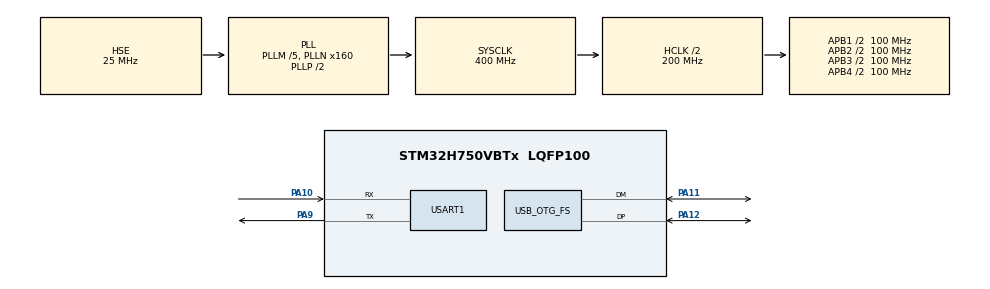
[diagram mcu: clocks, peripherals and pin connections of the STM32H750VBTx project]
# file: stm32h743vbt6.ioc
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Mcu.Family=STM32H7
Mcu.Name=STM32H750VBTx
Mcu.Package=LQFP100
NVIC.OTG_FS_IRQn=true\:0\:0\:false\:false\:true\:true\:true
NVIC.PriorityGroup=NVIC_PRIORITYGROUP_4
PA10.Mode=Asynchronous
PA10.Signal=USART1_RX
PA11.Mode=Device_Only
PA11.Signal=USB_OTG_FS_DM
PA12.Mode=Device_Only
PA12.Signal=USB_OTG_FS_DP
PA9.Mode=Asynchronous
PA9.Signal=USART1_TX
PH0-OSC_IN\ (PH0).Mode=HSE-External-Oscillator
PH0-OSC_IN\ (PH0).Signal=RCC_OSC_IN
PH1-OSC_OUT\ (PH1).Mode=HSE-External-Oscillator
PH1-OSC_OUT\ (PH1).Signal=RCC_OSC_OUT
ProjectManager.HeapSize=0x200
ProjectManager.StackSize=0x400
ProjectManager.TargetToolchain=MDK-ARM V5.27
RCC.ADCFreq_Value=400000000
RCC.APB1Freq_Value=100000000
RCC.APB2Freq_Value=100000000
RCC.APB3Freq_Value=100000000
RCC.APB4Freq_Value=100000000
RCC.CortexFreq_Value=400000000
RCC.D1PPRE=RCC_APB3_DIV2
RCC.D2PPRE1=RCC_APB1_DIV2
RCC.D2PPRE2=RCC_APB2_DIV2
RCC.D3PPRE=RCC_APB4_DIV2
RCC.DIVM1=5
RCC.DIVM2=5
RCC.DIVM3=5
RCC.DIVN1=160
RCC.DIVN2=160
RCC.DIVN3=160
RCC.HCLKFreq_Value=200000000
RCC.HPRE=RCC_HCLK_DIV2
RCC.PLLSourceVirtual=RCC_PLLSOURCE_HSE
RCC.SYSCLKFreq_VALUE=400000000
RCC.SYSCLKSource=RCC_SYSCLKSOURCE_PLLCLK
RCC.USBCLockSelection=RCC_USBCLKSOURCE_HSI48
RCC.USBFreq_Value=48000000
USART1.VirtualMode-Asynchronous=VM_ASYNC
USB_OTG_FS.VirtualMode=Device_Only
board=custom

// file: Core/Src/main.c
/* USER CODE BEGIN Header */
/**
  ******************************************************************************
  * @file           : main.c
  * @brief          : Main program body
  ******************************************************************************
  * @attention
  *
  * <h2><center>&copy; Copyright (c) 2021 STMicroelectronics.
  * All rights reserved.</center></h2>
  *
  * This software component is licensed by ST under BSD 3-Clause license,
  * the "License"; You may not use this file except in compliance with the
  * License. You may obtain a copy of the License at:
  *                        opensource.org/licenses/BSD-3-Clause
  *
  ******************************************************************************
  */
/* USER CODE END Header */
#include "main.h"

/* USER CODE BEGIN Includes */
#include "usbd_core.h"
#include "usbd_cdc.h"
/* USER CODE END Includes */

UART_HandleTypeDef huart1;

PCD_HandleTypeDef hpcd_USB_OTG_FS;

void SystemClock_Config(void);
static void MX_GPIO_Init(void);
static void MX_USART1_UART_Init(void);
static void MX_USB_OTG_FS_PCD_Init(void);

/* USER CODE BEGIN 0 */
int fputc(int ch, FILE *f)
{

  HAL_UART_Transmit(&huart1,(uint8_t*)&ch,1,1000);
  return ch;
}

#define CDC_IN_EP  0x81
#define CDC_OUT_EP 0x01
#define CDC_INT_EP 0x83

#define USBD_VID           0xFFFF
#define USBD_PID           0xFFFF
#define USBD_MAX_POWER     100
#define USBD_LANGID_STRING 1033

#define USB_CONFIG_SIZE (9 + CDC_ACM_DESCRIPTOR_LEN)

const uint8_t cdc_descriptor[] = {
    USB_DEVICE_DESCRIPTOR_INIT(USB_2_0, 0x02, 0x02, 0x01, USBD_VID, USBD_PID, 0x0100, 0x01),
    USB_CONFIG_DESCRIPTOR_INIT(USB_CONFIG_SIZE, 0x02, 0x01, USB_CONFIG_BUS_POWERED, USBD_MAX_POWER),
    CDC_ACM_DESCRIPTOR_INIT(0x00, CDC_INT_EP, CDC_OUT_EP, CDC_IN_EP, 0x02),
    ///////////////////////////////////////
    /// string0 descriptor
    ///////////////////////////////////////
    USB_LANGID_INIT(USBD_LANGID_STRING),
    ///////////////////////////////////////
    /// string1 descriptor
    ///////////////////////////////////////
    0x12,                       /* bLength */
    USB_DESCRIPTOR_TYPE_STRING, /* bDescriptorType */
    'B', 0x00,                  /* wcChar0 */
    'o', 0x00,                  /* wcChar1 */
    'u', 0x00,                  /* wcChar2 */
    'f', 0x00,                  /* wcChar3 */
    'f', 0x00,                  /* wcChar4 */
    'a', 0x00,                  /* wcChar5 */
    'l', 0x00,                  /* wcChar6 */
    'o', 0x00,                  /* wcChar7 */
    ///////////////////////////////////////
    /// string2 descriptor
    ///////////////////////////////////////
    0x24,                       /* bLength */
    USB_DESCRIPTOR_TYPE_STRING, /* bDescriptorType */
    'B', 0x00,                  /* wcChar0 */
    'o', 0x00,                  /* wcChar1 */
    'u', 0x00,                  /* wcChar2 */
    'f', 0x00,                  /* wcChar3 */
    'f', 0x00,                  /* wcChar4 */
    'a', 0x00,                  /* wcChar5 */
    'l', 0x00,                  /* wcChar6 */
    'o', 0x00,                  /* wcChar7 */
    ' ', 0x00,                  /* wcChar8 */
    'C', 0x00,                  /* wcChar9 */
    'D', 0x00,                  /* wcChar10 */
    'C', 0x00,                  /* wcChar11 */
    ' ', 0x00,                  /* wcChar13 */
    'D', 0x00,                  /* wcChar14 */
    'E', 0x00,                  /* wcChar15 */
    'M', 0x00,                  /* wcChar16 */
    'O', 0x00,                  /* wcChar17 */
    ///////////////////////////////////////
    /// string3 descriptor
    ///////////////////////////////////////
    0x16,                       /* bLength */
    USB_DESCRIPTOR_TYPE_STRING, /* bDescriptorType */
    '2', 0x00,                  /* wcChar0 */
    '0', 0x00,                  /* wcChar1 */
    '2', 0x00,                  /* wcChar2 */
    '1', 0x00,                  /* wcChar3 */
    '0', 0x00,                  /* wcChar4 */
    '3', 0x00,                  /* wcChar5 */
    '1', 0x00,                  /* wcChar6 */
    '0', 0x00,                  /* wcChar7 */
    '0', 0x00,                  /* wcChar8 */
    '0', 0x00,                  /* wcChar9 */
#ifdef CONFIG_USB_HS
    ///////////////////////////////////////
    /// device qualifier descriptor
    ///////////////////////////////////////
    0x0a,
    USB_DESCRIPTOR_TYPE_DEVICE_QUALIFIER,
    0x00,
    0x02,
    0x02,
    0x02,
    0x01,
    0x40,
    0x01,
    0x00,
#endif
    0x00
};

usbd_class_t cdc_class;
usbd_interface_t cdc_cmd_intf;
usbd_interface_t cdc_data_intf;

void usbd_cdc_acm_out(uint8_t ep)
{
    uint8_t data[64];
    uint32_t read_byte;
    usbd_ep_read(ep,data,64,&read_byte);
    printf("out\r\n");
    printf("read len:%d\r\n",read_byte);
    usbd_ep_read(ep,NULL,0,NULL);
}

void usbd_cdc_acm_in(uint8_t ep)
{
    printf("in\r\n");
}

usbd_endpoint_t cdc_out_ep = {
    .ep_addr = CDC_OUT_EP,
    .ep_cb = usbd_cdc_acm_out
};

usbd_endpoint_t cdc_in_ep = {
    .ep_addr = CDC_IN_EP,
    .ep_cb = usbd_cdc_acm_in
};

void usb_dc_low_level_init(void)
{
  GPIO_InitTypeDef GPIO_InitStruct = {0};
  RCC_PeriphCLKInitTypeDef PeriphClkInitStruct = {0};

  /* USER CODE BEGIN USB_OTG_FS_MspInit 0 */

  /* USER CODE END USB_OTG_FS_MspInit 0 */
  /** Initializes the peripherals clock
  */
    PeriphClkInitStruct.PeriphClockSelection = RCC_PERIPHCLK_USB;
    PeriphClkInitStruct.UsbClockSelection = RCC_USBCLKSOURCE_HSI48;
    if (HAL_RCCEx_PeriphCLKConfig(&PeriphClkInitStruct) != HAL_OK)
    {
      Error_Handler();
    }
  /** Enable USB Voltage detector
  */
    HAL_PWREx_EnableUSBVoltageDetector();

    __HAL_RCC_GPIOA_CLK_ENABLE();
    /**USB_OTG_FS GPIO Configuration
    PA11     ------> USB_OTG_FS_DM
    PA12     ------> USB_OTG_FS_DP
    */
    GPIO_InitStruct.Pin = GPIO_PIN_11|GPIO_PIN_12;
    GPIO_InitStruct.Mode = GPIO_MODE_AF_PP;
    GPIO_InitStruct.Pull = GPIO_NOPULL;
    GPIO_InitStruct.Speed = GPIO_SPEED_FREQ_LOW;
    GPIO_InitStruct.Alternate = GPIO_AF10_OTG1_FS;
    HAL_GPIO_Init(GPIOA, &GPIO_InitStruct);

    /* Peripheral clock enable */
    __HAL_RCC_USB_OTG_FS_CLK_ENABLE();
    /* USB_OTG_FS interrupt Init */
    HAL_NVIC_SetPriority(OTG_FS_IRQn, 0, 0);
    HAL_NVIC_EnableIRQ(OTG_FS_IRQn);
  /* USER CODE BEGIN USB_OTG_FS_MspInit 1 */

  /* USER CODE END USB_OTG_FS_MspInit 1 */

}
extern void usb_dc_init(void);

/* USER CODE END 0 */

int main(void)
{

  /* MCU Configuration--------------------------------------------------------*/

  /* Reset of all peripherals, Initializes the Flash interface and the Systick. */
  HAL_Init();

  /* Configure the system clock */
  SystemClock_Config();

  /* Initialize all configured peripherals */
  MX_GPIO_Init();
  MX_USART1_UART_Init();
  //MX_USB_OTG_FS_PCD_Init();
  /* USER CODE BEGIN 2 */
  usbd_desc_register(cdc_descriptor);
  usbd_cdc_add_acm_interface(&cdc_class, &cdc_cmd_intf);
  usbd_cdc_add_acm_interface(&cdc_class, &cdc_data_intf);
  usbd_interface_add_endpoint(&cdc_data_intf, &cdc_out_ep);
  usbd_interface_add_endpoint(&cdc_data_intf, &cdc_in_ep);

  usb_dc_init();

  while(!usb_device_is_configured())
  {}
  /* USER CODE END 2 */

  /* Infinite loop */
  while (1)
  {

    /* USER CODE BEGIN 3 */
    uint8_t data_buffer[10] = { 0x31, 0x32, 0x33, 0x34, 0x35, 0x31, 0x32, 0x33, 0x34, 0x35 };
    usbd_ep_write(CDC_IN_EP, data_buffer, 10, NULL);
    HAL_Delay(500);
  }
  /* USER CODE END 3 */
}

void SystemClock_Config(void)
{
  RCC_OscInitTypeDef RCC_OscInitStruct = {0};
  RCC_ClkInitTypeDef RCC_ClkInitStruct = {0};

  /** Supply configuration update enable
  */
  HAL_PWREx_ConfigSupply(PWR_LDO_SUPPLY);
  /** Configure the main internal regulator output voltage
  */
  __HAL_PWR_VOLTAGESCALING_CONFIG(PWR_REGULATOR_VOLTAGE_SCALE1);

  while(!__HAL_PWR_GET_FLAG(PWR_FLAG_VOSRDY)) {}
  /** Initializes the RCC Oscillators according to the specified parameters
  * in the RCC_OscInitTypeDef structure.
  */
  RCC_OscInitStruct.OscillatorType = RCC_OSCILLATORTYPE_HSI48|RCC_OSCILLATORTYPE_HSE;
  RCC_OscInitStruct.HSEState = RCC_HSE_ON;
  RCC_OscInitStruct.HSI48State = RCC_HSI48_ON;
  RCC_OscInitStruct.PLL.PLLState = RCC_PLL_ON;
  RCC_OscInitStruct.PLL.PLLSource = RCC_PLLSOURCE_HSE;
  RCC_OscInitStruct.PLL.PLLM = 5;
  RCC_OscInitStruct.PLL.PLLN = 160;
  RCC_OscInitStruct.PLL.PLLP = 2;
  RCC_OscInitStruct.PLL.PLLQ = 2;
  RCC_OscInitStruct.PLL.PLLR = 2;
  RCC_OscInitStruct.PLL.PLLRGE = RCC_PLL1VCIRANGE_2;
  RCC_OscInitStruct.PLL.PLLVCOSEL = RCC_PLL1VCOWIDE;
  RCC_OscInitStruct.PLL.PLLFRACN = 0;
  if (HAL_RCC_OscConfig(&RCC_OscInitStruct) != HAL_OK)
  {
    Error_Handler();
  }
  /** Initializes the CPU, AHB and APB buses clocks
  */
  RCC_ClkInitStruct.ClockType = RCC_CLOCKTYPE_HCLK|RCC_CLOCKTYPE_SYSCLK
                              |RCC_CLOCKTYPE_PCLK1|RCC_CLOCKTYPE_PCLK2
                              |RCC_CLOCKTYPE_D3PCLK1|RCC_CLOCKTYPE_D1PCLK1;
  RCC_ClkInitStruct.SYSCLKSource = RCC_SYSCLKSOURCE_PLLCLK;
  RCC_ClkInitStruct.SYSCLKDivider = RCC_SYSCLK_DIV1;
  RCC_ClkInitStruct.AHBCLKDivider = RCC_HCLK_DIV2;
  RCC_ClkInitStruct.APB3CLKDivider = RCC_APB3_DIV2;
  RCC_ClkInitStruct.APB1CLKDivider = RCC_APB1_DIV2;
  RCC_ClkInitStruct.APB2CLKDivider = RCC_APB2_DIV2;
  RCC_ClkInitStruct.APB4CLKDivider = RCC_APB4_DIV2;

  if (HAL_RCC_ClockConfig(&RCC_ClkInitStruct, FLASH_LATENCY_2) != HAL_OK)
  {
    Error_Handler();
  }
}

static void MX_USART1_UART_Init(void)
{

  huart1.Instance = USART1;
  huart1.Init.BaudRate = 115200;
  huart1.Init.WordLength = UART_WORDLENGTH_8B;
  huart1.Init.StopBits = UART_STOPBITS_1;
  huart1.Init.Parity = UART_PARITY_NONE;
  huart1.Init.Mode = UART_MODE_TX_RX;
  huart1.Init.HwFlowCtl = UART_HWCONTROL_NONE;
  huart1.Init.OverSampling = UART_OVERSAMPLING_16;
  huart1.Init.OneBitSampling = UART_ONE_BIT_SAMPLE_DISABLE;
  huart1.Init.ClockPrescaler = UART_PRESCALER_DIV1;
  huart1.AdvancedInit.AdvFeatureInit = UART_ADVFEATURE_NO_INIT;
  if (HAL_UART_Init(&huart1) != HAL_OK)
  {
    Error_Handler();
  }
  if (HAL_UARTEx_SetTxFifoThreshold(&huart1, UART_TXFIFO_THRESHOLD_1_8) != HAL_OK)
  {
    Error_Handler();
  }
  if (HAL_UARTEx_SetRxFifoThreshold(&huart1, UART_RXFIFO_THRESHOLD_1_8) != HAL_OK)
  {
    Error_Handler();
  }
  if (HAL_UARTEx_DisableFifoMode(&huart1) != HAL_OK)
  {
    Error_Handler();
  }

}

static void MX_USB_OTG_FS_PCD_Init(void)
{

  hpcd_USB_OTG_FS.Instance = USB_OTG_FS;
  hpcd_USB_OTG_FS.Init.dev_endpoints = 9;
  hpcd_USB_OTG_FS.Init.speed = PCD_SPEED_FULL;
  hpcd_USB_OTG_FS.Init.dma_enable = DISABLE;
  hpcd_USB_OTG_FS.Init.phy_itface = PCD_PHY_EMBEDDED;
  hpcd_USB_OTG_FS.Init.Sof_enable = DISABLE;
  hpcd_USB_OTG_FS.Init.low_power_enable = DISABLE;
  hpcd_USB_OTG_FS.Init.lpm_enable = DISABLE;
  hpcd_USB_OTG_FS.Init.battery_charging_enable = DISABLE;
  hpcd_USB_OTG_FS.Init.vbus_sensing_enable = DISABLE;
  hpcd_USB_OTG_FS.Init.use_dedicated_ep1 = DISABLE;
  if (HAL_PCD_Init(&hpcd_USB_OTG_FS) != HAL_OK)
  {
    Error_Handler();
  }

}

static void MX_GPIO_Init(void)
{

  /* GPIO Ports Clock Enable */
  __HAL_RCC_GPIOH_CLK_ENABLE();
  __HAL_RCC_GPIOA_CLK_ENABLE();

}

void Error_Handler(void)
{
  __disable_irq();
  while (1)
  {
  }
}

/************************ (C) COPYRIGHT STMicroelectronics *****END OF FILE****/
